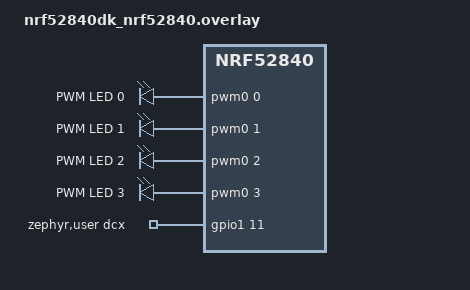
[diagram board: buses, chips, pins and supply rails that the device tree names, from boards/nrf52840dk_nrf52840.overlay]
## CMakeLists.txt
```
#-------------------------------------------------------------------------------
# Zephyr Example Application
#
# Copyright (c) 2021 Nordic Semiconductor ASA
# SPDX-License-Identifier: Apache-2.0

cmake_minimum_required(VERSION 3.13.1)
find_package(Zephyr REQUIRED HINTS $ENV{ZEPHYR_BASE})

project(app LANGUAGES C)

zephyr_include_directories(src)

target_sources(app PRIVATE src/main.c)
target_sources(app PRIVATE src/cute_puppy.c)
```

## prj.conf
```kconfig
# Copyright (c) 2021 Nordic Semiconductor ASA
# SPDX-License-Identifier: Apache-2.0
#
# This file contains selected Kconfig options for the application.

CONFIG_GPIO=y
CONFIG_PWM=y
CONFIG_SMF=y

CONFIG_DISPLAY=y
CONFIG_LVGL=y
CONFIG_LV_Z_MEM_POOL_SIZE=16384
CONFIG_LV_Z_MEM_POOL_SIZE=4096
```

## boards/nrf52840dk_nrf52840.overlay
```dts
/ {
    pwmleds {
        compatible = "pwm-leds";
        pwm_led0: pwm_led_0 {
            pwms = <&pwm0 0 PWM_MSEC(20) PWM_POLARITY_NORMAL>;
            label = "PWM LED 0";
        };
        pwm_led1: pwm_led_1 {
            pwms = <&pwm0 1 PWM_MSEC(20) PWM_POLARITY_NORMAL>;
            label = "PWM LED 1";
        };
        pwm_led2: pwm_led_2 {
            pwms = <&pwm0 2 PWM_MSEC(20) PWM_POLARITY_NORMAL>;
            label = "PWM LED 2";
        };
        pwm_led3: pwm_led_3 {
            pwms = <&pwm0 3 PWM_MSEC(20) PWM_POLARITY_NORMAL>;
            label = "PWM LED 3";
        };
    };

    zephyr,user{
        dcx_gpios = <&gpio1 11 GPIO_ACTIVE_HIGH>;
    };
    arduino_spi{
        cs_gpios = <&gpio1 12 GPIO_ACTIVE_LOW>;
    };
    aliases {
        pwm-led0 = &pwm_led0;
        pwm-led1 = &pwm_led1;
        pwm-led2 = &pwm_led2;
        pwm-led3 = &pwm_led3;
    };
};

&pinctrl { 
    pwm0_default: pwm0_default {
		group1 {
			psels = 
                <NRF_PSEL(PWM_OUT0, 0, 13)>, 
                <NRF_PSEL(PWM_OUT1, 0, 14)>, 
                <NRF_PSEL(PWM_OUT2, 0, 15)>, 
                <NRF_PSEL(PWM_OUT3, 0, 16)>;
			nordic,invert;
		};
	};

    pwm0_sleep: pwm0_sleep {
		group1 {
			psels = 
                <NRF_PSEL(PWM_OUT0, 0, 13)>, 
                <NRF_PSEL(PWM_OUT1, 0, 14)>, 
                <NRF_PSEL(PWM_OUT2, 0, 15)>, 
                <NRF_PSEL(PWM_OUT3, 0, 16)>;
			low-power-enable;
		};
	};
};
```

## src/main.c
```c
/**
 * @file main.c
 */

#include <inttypes.h>

#include <zephyr/kernel.h>
#include <zephyr/sys/printk.h>
#include <zephyr/device.h>
#include <zephyr/drivers/display.h>

#include <lvgl.h>

#include "BTN.h"
#include "LED.h"
#include "lv_data_obj.h"

#define SLEEP_MS 1

static const struct device *display_dev = DEVICE_DT_GET(DT_CHOSEN(zephyr_display));
static lv_obj_t *screen = NULL;

extern const lv_image_dsc_t cute_puppy;

int main(void) {
   if (!device_is_ready(display_dev)) {
    return 0;
  }
  screen = lv_screen_active();
  if (screen == NULL) {
    return 0;
  }
  if (0 > BTN_init()) {
    return 0;
  }
  if (0 > LED_init()) {
    return 0;
  }
  lv_obj_t *image = lv_image_create(screen);
  lv_image_set_src(image, &cute_puppy);
  lv_obj_align(image, LV_ALIGN_CENTER, 0, 0);
  
  display_blanking_off(display_dev);

  
  while(1) {
    lv_timer_handler();
    k_msleep(SLEEP_MS);
  }
  return 0;
}
```

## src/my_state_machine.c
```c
/**
* @file my_state_machine.h
*/

#include <zephyr/smf.h>

#include "LED.h"
#include "my_state_machine.h"

/*
*Function Prototypes
*/
static void led_on_state_entry(void* o);
static enum smf_state_result led_on_state_run(void *o);
static void led_off_state_entry(void* o);
static enum smf_state_result led_off_state_run(void* o);

/*
*Typedefs
*/
enum led_state_machine_states{
    LED_ON_STATE,
    LED_OFF_STATE
};

typedef struct {
    struct smf_ctx ctx;

    uint16_t count;

} led_state_object_t;

/*
* Local Variables
*/
static const struct smf_state led_states[] = {
    [LED_ON_STATE] = SMF_CREATE_STATE(led_on_state_entry,led_on_state_run,NULL,NULL,NULL),
    [LED_OFF_STATE] = SMF_CREATE_STATE(led_off_state_entry,led_off_state_run, NULL, NULL, NULL)
};

static led_state_object_t led_state_object;

void state_machine_init(){
    led_state_object.count = 0;
    smf_set_initial(SMF_CTX(&led_state_object), &led_states[LED_ON_STATE]);
}

int state_machine_run(){
    return smf_run_state(SMF_CTX(&led_state_object));
}

static void led_on_state_entry(void* o){
    LED_set(LED0, LED_ON);    
}

static enum smf_state_result led_on_state_run(void *o){
    if(led_state_object.count > 500){
        led_state_object.count = 0;
        smf_set_state(SMF_CTX(&led_state_object), &led_states[LED_OFF_STATE]);
    } else{
        led_state_object.count++;
    }

    return SMF_EVENT_HANDLED;
}

static void led_off_state_entry(void* o){
    LED_set(LED0, LED_OFF);
}

static enum smf_state_result led_off_state_run(void *o){
     if(led_state_object.count > 500){
        led_state_object.count = 0;
        smf_set_state(SMF_CTX(&led_state_object), &led_states[LED_ON_STATE]);
    } else{
        led_state_object.count++;
    }

        return SMF_EVENT_HANDLED;
}
```
